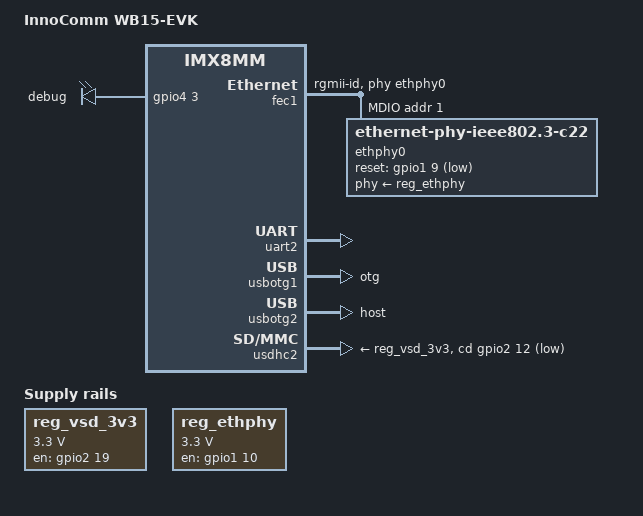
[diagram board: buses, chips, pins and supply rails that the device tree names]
// SPDX-License-Identifier: (GPL-2.0+ OR MIT)
/*
 * Copyright 2018 Bang & Olufsen
 * Copyright 2022 Pengutronix
 */

/dts-v1/;

#include "imx8mm-innocomm-wb15.dtsi"

/ {
	model = "InnoComm WB15-EVK";
	compatible = "innocomm,wb15-evk", "fsl,imx8mm";

	chosen {
		stdout-path = &uart2;
	};

	leds {
		compatible = "gpio-leds";
		pinctrl-names = "default";
		pinctrl-0 = <&pinctrl_gpio_leds>;

		led-0 {
			label = "debug";
			gpios = <&gpio4 3 GPIO_ACTIVE_HIGH>;
			default-state = "off";
		};
	};

	reg_vsd_3v3: regulator-vsd-3v3 {
		compatible = "regulator-fixed";
		pinctrl-names = "default";
		pinctrl-0 = <&pinctrl_reg_vsd_3v3>;
		regulator-name = "VSD_3V3";
		regulator-min-microvolt = <3300000>;
		regulator-max-microvolt = <3300000>;
		gpio = <&gpio2 19 GPIO_ACTIVE_HIGH>;
		enable-active-high;
	};

	reg_ethphy: regulator-eth-phy {
		compatible = "regulator-fixed";
		pinctrl-names = "default";
		pinctrl-0 = <&pinctrl_fec_phy_reg>;
		regulator-name = "PHY_3V3";
		regulator-min-microvolt = <3300000>;
		regulator-max-microvolt = <3300000>;
		gpio = <&gpio1 10 GPIO_ACTIVE_HIGH>;
		enable-active-high;
	};
};

&fec1 {
	pinctrl-names = "default";
	pinctrl-0 = <&pinctrl_fec>;
	phy-mode = "rgmii-id";
	phy-handle = <&ethphy0>;
	fsl,magic-packet;
	status = "okay";

	mdio {
		#address-cells = <1>;
		#size-cells = <0>;

		ethphy0: ethernet-phy@1 {
			compatible = "ethernet-phy-ieee802.3-c22";
			reg = <0x1>;
			pinctrl-names = "default";
			pinctrl-0 = <&pinctrl_fec_phy>;
			reset-gpios = <&gpio1 9 GPIO_ACTIVE_LOW>;
			phy-supply = <&reg_ethphy>;
		};
	};
};

&uart2 {
	status = "okay";
};

&usbotg1 {
	dr_mode = "otg";
	samsung,picophy-pre-emp-curr-control = <3>;
	samsung,picophy-dc-vol-level-adjust = <7>;
	disable-over-current;
	status = "okay";
};

&usbotg2 {
	dr_mode = "host";
	samsung,picophy-pre-emp-curr-control = <3>;
	samsung,picophy-dc-vol-level-adjust = <7>;
	disable-over-current;
	status = "okay";
};

&usdhc2 {
	cd-gpios = <&gpio2 12 GPIO_ACTIVE_LOW>;
	vmmc-supply = <&reg_vsd_3v3>;
	status = "okay";
};

&iomuxc {
	pinctrl_fec: fec-grp {
		fsl,pins = <
			MX8MM_IOMUXC_ENET_MDC_ENET1_MDC			0x03
			MX8MM_IOMUXC_ENET_MDIO_ENET1_MDIO		0x03
			MX8MM_IOMUXC_ENET_TD3_ENET1_RGMII_TD3		0x1f
			MX8MM_IOMUXC_ENET_TD2_ENET1_RGMII_TD2		0x1f
			MX8MM_IOMUXC_ENET_TD1_ENET1_RGMII_TD1		0x1f
			MX8MM_IOMUXC_ENET_TD0_ENET1_RGMII_TD0		0x1f
			MX8MM_IOMUXC_ENET_RD3_ENET1_RGMII_RD3		0x91
			MX8MM_IOMUXC_ENET_RD2_ENET1_RGMII_RD2		0x91
			MX8MM_IOMUXC_ENET_RD1_ENET1_RGMII_RD1		0x91
			MX8MM_IOMUXC_ENET_RD0_ENET1_RGMII_RD0		0x91
			MX8MM_IOMUXC_ENET_TXC_ENET1_RGMII_TXC		0x1f
			MX8MM_IOMUXC_ENET_RXC_ENET1_RGMII_RXC		0x91
			MX8MM_IOMUXC_ENET_RX_CTL_ENET1_RGMII_RX_CTL	0x91
			MX8MM_IOMUXC_ENET_TX_CTL_ENET1_RGMII_TX_CTL	0x1f
		>;
	};

	pinctrl_fec_phy: fec-phy-grp {
		fsl,pins = <
			MX8MM_IOMUXC_GPIO1_IO09_GPIO1_IO9		0x19
		>;
	};

	pinctrl_fec_phy_reg: fec-phy-reg-grp {
		fsl,pins = <
			MX8MM_IOMUXC_GPIO1_IO10_GPIO1_IO10		0x16
		>;
	};

	pinctrl_gpio_leds: led-grp {
		fsl,pins = <
			MX8MM_IOMUXC_SAI1_RXD1_GPIO4_IO3	0xd6
		>;
	};

	pinctrl_reg_vsd_3v3: reg-vsd-3v3-grp {
		fsl,pins = <
			MX8MM_IOMUXC_SD2_RESET_B_GPIO2_IO19	0x41
		>;
	};
};
